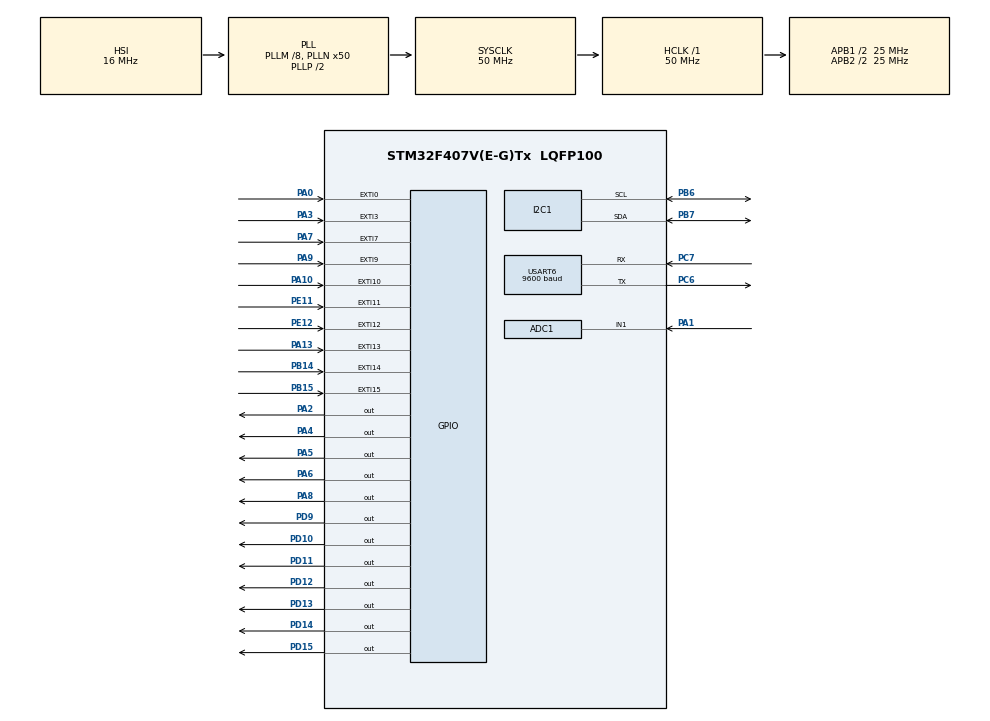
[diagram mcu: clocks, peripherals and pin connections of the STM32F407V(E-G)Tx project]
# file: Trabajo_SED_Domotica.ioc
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ADC1.Channel-0\#ChannelRegularConversion=ADC_CHANNEL_1
ADC1.ClockPrescaler=ADC_CLOCK_SYNC_PCLK_DIV8
ADC1.ContinuousConvMode=DISABLE
ADC1.EnableAnalogWatchDog=false
ADC1.NbrOfConversionFlag=1
ADC1.Rank-0\#ChannelRegularConversion=1
ADC1.SamplingTime-0\#ChannelRegularConversion=ADC_SAMPLETIME_3CYCLES
ADC1.master=1
I2C1.I2C_Mode=I2C_Standard
Mcu.Family=STM32F4
Mcu.Name=STM32F407V(E-G)Tx
Mcu.Package=LQFP100
NVIC.EXTI0_IRQn=true\:0\:0\:false\:false\:true\:true\:true
NVIC.EXTI15_10_IRQn=true\:0\:0\:false\:false\:true\:true\:true
NVIC.EXTI3_IRQn=true\:0\:0\:false\:false\:true\:true\:true
NVIC.EXTI9_5_IRQn=true\:0\:0\:false\:false\:true\:true\:true
NVIC.PriorityGroup=NVIC_PRIORITYGROUP_0
NVIC.USART6_IRQn=true\:0\:0\:false\:false\:true\:true\:true
PA0-WKUP.Signal=GPXTI0
PA1.Signal=ADCx_IN1
PA10.Signal=GPXTI10
PA13.Signal=GPXTI13
PA2.Signal=GPIO_Output
PA3.Signal=GPXTI3
PA4.Signal=GPIO_Output
PA5.Signal=GPIO_Output
PA6.Signal=GPIO_Output
PA7.Signal=GPXTI7
PA8.Signal=GPIO_Output
PA9.Signal=GPXTI9
PB14.Signal=GPXTI14
PB15.Signal=GPXTI15
PB6.Mode=I2C
PB6.Signal=I2C1_SCL
PB7.Mode=I2C
PB7.Signal=I2C1_SDA
PC6.Mode=Asynchronous
PC6.Signal=USART6_TX
PC7.Mode=Asynchronous
PC7.Signal=USART6_RX
PD10.Signal=GPIO_Output
PD11.Signal=GPIO_Output
PD12.Signal=GPIO_Output
PD13.Signal=GPIO_Output
PD14.Signal=GPIO_Output
PD15.Signal=GPIO_Output
PD9.Signal=GPIO_Output
PE11.Signal=GPXTI11
PE12.Signal=GPXTI12
PH0-OSC_IN.Mode=HSE-External-Oscillator
PH0-OSC_IN.Signal=RCC_OSC_IN
PH1-OSC_OUT.Mode=HSE-External-Oscillator
PH1-OSC_OUT.Signal=RCC_OSC_OUT
ProjectManager.HeapSize=0x200
ProjectManager.StackSize=0x400
ProjectManager.TargetToolchain=STM32CubeIDE
RCC.48MHZClocksFreq_Value=14285714.285714285
RCC.AHBFreq_Value=50000000
RCC.APB1CLKDivider=RCC_HCLK_DIV2
RCC.APB1Freq_Value=25000000
RCC.APB1TimFreq_Value=50000000
RCC.APB2CLKDivider=RCC_HCLK_DIV2
RCC.APB2Freq_Value=25000000
RCC.APB2TimFreq_Value=50000000
RCC.CortexFreq_Value=50000000
RCC.HCLKFreq_Value=50000000
RCC.HSE_VALUE=8000000
RCC.HSI_VALUE=16000000
RCC.LSE_VALUE=32768
RCC.PLLM=8
RCC.PLLN=50
RCC.PLLQ=7
RCC.SYSCLKFreq_VALUE=50000000
RCC.SYSCLKSource=RCC_SYSCLKSOURCE_PLLCLK
RCC.VCOOutputFreq_Value=100000000
SH.ADCx_IN1.0=ADC1_IN1,IN1
TIM1.Period=255-1
TIM1.Prescaler=768-1
TIM6.AutoReloadPreload=TIM_AUTORELOAD_PRELOAD_ENABLE
TIM6.Period=0xffff-1
TIM6.Prescaler=50-1
USART6.BaudRate=9600
USART6.VirtualMode=VM_ASYNC
VP_TIM1_VS_ClockSourceINT.Mode=Internal
VP_TIM6_VS_ClockSourceINT.Mode=Enable_Timer
board=STM32F407G-DISC1

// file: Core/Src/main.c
/* USER CODE BEGIN Header */
/**
 ******************************************************************************
 * @file           : main.c
 * @brief          : Main program body
 ******************************************************************************
 * @attention
 *
 * Copyright (c) 2021 STMicroelectronics.
 * All rights reserved.
 *
 * This software is licensed under terms that can be found in the LICENSE file
 * in the root directory of this software component.
 * If no LICENSE file comes with this software, it is provided AS-IS.
 *
 ******************************************************************************
 */
/* USER CODE END Header */
#include "main.h"

/* USER CODE BEGIN Includes */
#include "stdlib.h"
#include "string.h"
#include "TFT.h"
#include "control_BT.h"
#include "control_luces.h"
#include "control_persianas.h"
#include "control_riego.h"
#include "control_seguridad.h"
#include "control_clima.h"
/* USER CODE END Includes */

ADC_HandleTypeDef hadc1;

I2C_HandleTypeDef hi2c1;

TIM_HandleTypeDef htim1;
TIM_HandleTypeDef htim6;

UART_HandleTypeDef huart6;

void SystemClock_Config(void);
static void MX_GPIO_Init(void);
static void MX_I2C1_Init(void);
static void MX_USART6_UART_Init(void);
static void MX_ADC1_Init(void);
static void MX_TIM6_Init(void);
static void MX_TIM1_Init(void);

/* USER CODE BEGIN 0 */
char readBuf[1];
void HAL_UART_RxCpltCallback(UART_HandleTypeDef *UartHandle) {
 /* Se recibe el caracter y se pide el siguiente*/
 HAL_UART_Receive_IT(&huart6, (uint8_t*)readBuf, 1);
 bluetooth(readBuf);
}

//Interrupciones botones:
volatile int button_int = 0;
int boton_presionado = 0;
//Antirrebotes botones:
int debouncer(volatile int *button_int, GPIO_TypeDef *GPIO_port,
		uint16_t GPIO_number) {
	static uint8_t button_count = 0;
	static int counter = 0;

	if (*button_int == 1) {
		if (button_count == 0) {
			counter = HAL_GetTick();
			button_count++;
		}
		if (HAL_GetTick() - counter >= 20) {
			counter = HAL_GetTick();
			if (HAL_GPIO_ReadPin(GPIO_port, GPIO_number) != 1) {
				button_count = 1;
			} else {
				button_count++;
			}
			if (button_count == 4) { //Periodo antirebotes
				button_count = 0;
				*button_int = 0;
				return 1;
			}
		}
	}
	return 0;
}

void HAL_GPIO_EXTI_Callback(uint16_t GPIO_Pin) {
	if (GPIO_Pin == GPIO_PIN_3) {
		button_int = 1;
		boton_presionado = 3;
	} else if (GPIO_Pin == GPIO_PIN_12) {
		button_int = 1;
		boton_presionado = 12;
	} else if (GPIO_Pin == GPIO_PIN_13) {
		button_int = 1;
		boton_presionado = 13;
	} else if (GPIO_Pin == GPIO_PIN_10) {
		button_int = 1;
		boton_presionado = 10;
	} else if (GPIO_Pin == GPIO_PIN_7) {
		button_int = 1;
		boton_presionado = 7;
	} else if (GPIO_Pin == GPIO_PIN_9) {
		button_int = 1;
		boton_presionado = 9;
	} else if (GPIO_Pin == GPIO_PIN_14) {
		button_int = 1;
		boton_presionado = 14;
	} else if (GPIO_Pin == GPIO_PIN_15) {
		button_int = 1;
		boton_presionado = 15;
	}

}

/* USER CODE END 0 */

int main(void)
{

  /* MCU Configuration--------------------------------------------------------*/

  /* Reset of all peripherals, Initializes the Flash interface and the Systick. */
  HAL_Init();

  /* Configure the system clock */
  SystemClock_Config();

  /* Initialize all configured peripherals */
  MX_GPIO_Init();
  MX_I2C1_Init();
  MX_USART6_UART_Init();
  MX_ADC1_Init();
  MX_TIM6_Init();
  MX_TIM1_Init();
  /* USER CODE BEGIN 2 */
	HAL_TIM_Base_Start(&htim6);
	//int menu_actual = 0;
	//int retorno = 0;
	pantalla_principal();
	setEstadoPersianas(0);
	setLuces(0);
	setEstadoClima(0);
	setEstadoSeguridad(0);
	setEstadoRiego(2);
	lectura_dht11();

  /* USER CODE END 2 */

  /* Infinite loop */
  /* USER CODE BEGIN WHILE */
	  HAL_UART_Receive_IT(&huart6, (uint8_t*)readBuf, 1);
	while (1) {
    /* USER CODE END WHILE */

    /* USER CODE BEGIN 3 */
		switch (boton_presionado) {
		case 3:
			if (debouncer(&button_int, GPIOA, GPIO_PIN_3)) {
				cambiarEstadoLuces();
			}
			break;
		case 12:
			if (debouncer(&button_int, GPIOE, GPIO_PIN_12)) {
				setEstadoPersianas(0);
			}
			break;
		case 13:
			if (debouncer(&button_int, GPIOA, GPIO_PIN_13)) {
				cambiarEstadoPersianas();
			}
			break;
		case 10:
			if (debouncer(&button_int, GPIOA, GPIO_PIN_10)) {
				cambiarEstadoRiego();
			}
			break;
		case 7:
			if (debouncer(&button_int, GPIOA, GPIO_PIN_7)) {
				cambiarEstadoSeguridad();
			}
			break;
		case 9:
			if (debouncer(&button_int, GPIOA, GPIO_PIN_9)) {
				intruso_detectado();
			}
			break;
		case 14:
			if (debouncer(&button_int, GPIOB, GPIO_PIN_14)) {
				cambiarControlClima();
			}
			break;
		case 15:
			if (debouncer(&button_int, GPIOB, GPIO_PIN_15)) {
				cambiarEstadoClima();
			}
			break;
		}

		/*
		 if (button_int == 1) {
		 if (debouncer(&button_int, GPIOA, GPIO_PIN_3)) {
		 cambiarEstadoLuces();
		 }
		 } else if (button_int == 2) {
		 if (debouncer(&button_int, GPIOE, GPIO_PIN_11)) {
		 setEstadoPersianas(0);
		 }
		 } else if (debouncer(&button_int, GPIOE, GPIO_PIN_12)) {
		 setEstadoPersianas(0);
		 } else if (debouncer(&button_int, GPIOA, GPIO_PIN_13)) {
		 cambiarEstadoPersianas();
		 } else if (debouncer(&button_int, GPIOA, GPIO_PIN_10)) {
		 cambiarEstadoRiego();
		 } else if (debouncer(&button_int, GPIOA, GPIO_PIN_7)) {
		 cambiarEstadoSeguridad();
		 } else if (debouncer(&button_int, GPIOA, GPIO_PIN_9)) {
		 intruso_detectado();
		 } else if (debouncer(&button_int, GPIOB, GPIO_PIN_14)) {
		 cambiaEstadoClima();
		 } else if (debouncer(&button_int, GPIOB, GPIO_PIN_15)) {
		 cambiaControlClima();
		 }*/

		luces();
		riego();
		seguridad();
		clima();
	}
  /* USER CODE END 3 */
}

void SystemClock_Config(void)
{
  RCC_OscInitTypeDef RCC_OscInitStruct = {0};
  RCC_ClkInitTypeDef RCC_ClkInitStruct = {0};

  /** Configure the main internal regulator output voltage
  */
  __HAL_RCC_PWR_CLK_ENABLE();
  __HAL_PWR_VOLTAGESCALING_CONFIG(PWR_REGULATOR_VOLTAGE_SCALE1);
  /** Initializes the RCC Oscillators according to the specified parameters
  * in the RCC_OscInitTypeDef structure.
  */
  RCC_OscInitStruct.OscillatorType = RCC_OSCILLATORTYPE_HSI;
  RCC_OscInitStruct.HSIState = RCC_HSI_ON;
  RCC_OscInitStruct.HSICalibrationValue = RCC_HSICALIBRATION_DEFAULT;
  RCC_OscInitStruct.PLL.PLLState = RCC_PLL_ON;
  RCC_OscInitStruct.PLL.PLLSource = RCC_PLLSOURCE_HSI;
  RCC_OscInitStruct.PLL.PLLM = 8;
  RCC_OscInitStruct.PLL.PLLN = 50;
  RCC_OscInitStruct.PLL.PLLP = RCC_PLLP_DIV2;
  RCC_OscInitStruct.PLL.PLLQ = 7;
  if (HAL_RCC_OscConfig(&RCC_OscInitStruct) != HAL_OK)
  {
    Error_Handler();
  }
  /** Initializes the CPU, AHB and APB buses clocks
  */
  RCC_ClkInitStruct.ClockType = RCC_CLOCKTYPE_HCLK|RCC_CLOCKTYPE_SYSCLK
                              |RCC_CLOCKTYPE_PCLK1|RCC_CLOCKTYPE_PCLK2;
  RCC_ClkInitStruct.SYSCLKSource = RCC_SYSCLKSOURCE_PLLCLK;
  RCC_ClkInitStruct.AHBCLKDivider = RCC_SYSCLK_DIV1;
  RCC_ClkInitStruct.APB1CLKDivider = RCC_HCLK_DIV2;
  RCC_ClkInitStruct.APB2CLKDivider = RCC_HCLK_DIV2;

  if (HAL_RCC_ClockConfig(&RCC_ClkInitStruct, FLASH_LATENCY_1) != HAL_OK)
  {
    Error_Handler();
  }
}

static void MX_ADC1_Init(void)
{

  ADC_ChannelConfTypeDef sConfig = {0};

  /** Configure the global features of the ADC (Clock, Resolution, Data Alignment and number of conversion)
  */
  hadc1.Instance = ADC1;
  hadc1.Init.ClockPrescaler = ADC_CLOCK_SYNC_PCLK_DIV8;
  hadc1.Init.Resolution = ADC_RESOLUTION_12B;
  hadc1.Init.ScanConvMode = DISABLE;
  hadc1.Init.ContinuousConvMode = DISABLE;
  hadc1.Init.DiscontinuousConvMode = DISABLE;
  hadc1.Init.ExternalTrigConvEdge = ADC_EXTERNALTRIGCONVEDGE_NONE;
  hadc1.Init.ExternalTrigConv = ADC_SOFTWARE_START;
  hadc1.Init.DataAlign = ADC_DATAALIGN_RIGHT;
  hadc1.Init.NbrOfConversion = 1;
  hadc1.Init.DMAContinuousRequests = DISABLE;
  hadc1.Init.EOCSelection = ADC_EOC_SINGLE_CONV;
  if (HAL_ADC_Init(&hadc1) != HAL_OK)
  {
    Error_Handler();
  }
  /** Configure for the selected ADC regular channel its corresponding rank in the sequencer and its sample time.
  */
  sConfig.Channel = ADC_CHANNEL_1;
  sConfig.Rank = 1;
  sConfig.SamplingTime = ADC_SAMPLETIME_3CYCLES;
  if (HAL_ADC_ConfigChannel(&hadc1, &sConfig) != HAL_OK)
  {
    Error_Handler();
  }

}

static void MX_I2C1_Init(void)
{

  hi2c1.Instance = I2C1;
  hi2c1.Init.ClockSpeed = 100000;
  hi2c1.Init.DutyCycle = I2C_DUTYCYCLE_2;
  hi2c1.Init.OwnAddress1 = 0;
  hi2c1.Init.AddressingMode = I2C_ADDRESSINGMODE_7BIT;
  hi2c1.Init.DualAddressMode = I2C_DUALADDRESS_DISABLE;
  hi2c1.Init.OwnAddress2 = 0;
  hi2c1.Init.GeneralCallMode = I2C_GENERALCALL_DISABLE;
  hi2c1.Init.NoStretchMode = I2C_NOSTRETCH_DISABLE;
  if (HAL_I2C_Init(&hi2c1) != HAL_OK)
  {
    Error_Handler();
  }

}

static void MX_TIM1_Init(void)
{

  TIM_ClockConfigTypeDef sClockSourceConfig = {0};
  TIM_MasterConfigTypeDef sMasterConfig = {0};

  htim1.Instance = TIM1;
  htim1.Init.Prescaler = 768-1;
  htim1.Init.CounterMode = TIM_COUNTERMODE_UP;
  htim1.Init.Period = 255-1;
  htim1.Init.ClockDivision = TIM_CLOCKDIVISION_DIV1;
  htim1.Init.RepetitionCounter = 0;
  htim1.Init.AutoReloadPreload = TIM_AUTORELOAD_PRELOAD_DISABLE;
  if (HAL_TIM_Base_Init(&htim1) != HAL_OK)
  {
    Error_Handler();
  }
  sClockSourceConfig.ClockSource = TIM_CLOCKSOURCE_INTERNAL;
  if (HAL_TIM_ConfigClockSource(&htim1, &sClockSourceConfig) != HAL_OK)
  {
    Error_Handler();
  }
  sMasterConfig.MasterOutputTrigger = TIM_TRGO_RESET;
  sMasterConfig.MasterSlaveMode = TIM_MASTERSLAVEMODE_DISABLE;
  if (HAL_TIMEx_MasterConfigSynchronization(&htim1, &sMasterConfig) != HAL_OK)
  {
    Error_Handler();
  }

}

static void MX_TIM6_Init(void)
{

  TIM_MasterConfigTypeDef sMasterConfig = {0};

  htim6.Instance = TIM6;
  htim6.Init.Prescaler = 50-1;
  htim6.Init.CounterMode = TIM_COUNTERMODE_UP;
  htim6.Init.Period = 0xffff-1;
  htim6.Init.AutoReloadPreload = TIM_AUTORELOAD_PRELOAD_ENABLE;
  if (HAL_TIM_Base_Init(&htim6) != HAL_OK)
  {
    Error_Handler();
  }
  sMasterConfig.MasterOutputTrigger = TIM_TRGO_RESET;
  sMasterConfig.MasterSlaveMode = TIM_MASTERSLAVEMODE_DISABLE;
  if (HAL_TIMEx_MasterConfigSynchronization(&htim6, &sMasterConfig) != HAL_OK)
  {
    Error_Handler();
  }

}

static void MX_USART6_UART_Init(void)
{

  huart6.Instance = USART6;
  huart6.Init.BaudRate = 9600;
  huart6.Init.WordLength = UART_WORDLENGTH_8B;
  huart6.Init.StopBits = UART_STOPBITS_1;
  huart6.Init.Parity = UART_PARITY_NONE;
  huart6.Init.Mode = UART_MODE_TX_RX;
  huart6.Init.HwFlowCtl = UART_HWCONTROL_NONE;
  huart6.Init.OverSampling = UART_OVERSAMPLING_16;
  if (HAL_UART_Init(&huart6) != HAL_OK)
  {
    Error_Handler();
  }

}

static void MX_GPIO_Init(void)
{
  GPIO_InitTypeDef GPIO_InitStruct = {0};

  /* GPIO Ports Clock Enable */
  __HAL_RCC_GPIOH_CLK_ENABLE();
  __HAL_RCC_GPIOA_CLK_ENABLE();
  __HAL_RCC_GPIOE_CLK_ENABLE();
  __HAL_RCC_GPIOB_CLK_ENABLE();
  __HAL_RCC_GPIOD_CLK_ENABLE();
  __HAL_RCC_GPIOC_CLK_ENABLE();

  /*Configure GPIO pin Output Level */
  HAL_GPIO_WritePin(GPIOA, GPIO_PIN_2|GPIO_PIN_4|GPIO_PIN_5|GPIO_PIN_6
                          |GPIO_PIN_8, GPIO_PIN_RESET);

  /*Configure GPIO pin Output Level */
  HAL_GPIO_WritePin(GPIOD, GPIO_PIN_9|GPIO_PIN_10|GPIO_PIN_11|GPIO_PIN_12
                          |GPIO_PIN_13|GPIO_PIN_14|GPIO_PIN_15, GPIO_PIN_RESET);

  /*Configure GPIO pins : PA0 PA3 PA7 PA9
                           PA10 PA13 */
  GPIO_InitStruct.Pin = GPIO_PIN_0|GPIO_PIN_3|GPIO_PIN_7|GPIO_PIN_9
                          |GPIO_PIN_10|GPIO_PIN_13;
  GPIO_InitStruct.Mode = GPIO_MODE_IT_RISING;
  GPIO_InitStruct.Pull = GPIO_NOPULL;
  HAL_GPIO_Init(GPIOA, &GPIO_InitStruct);

  /*Configure GPIO pins : PA2 PA4 PA5 PA6
                           PA8 */
  GPIO_InitStruct.Pin = GPIO_PIN_2|GPIO_PIN_4|GPIO_PIN_5|GPIO_PIN_6
                          |GPIO_PIN_8;
  GPIO_InitStruct.Mode = GPIO_MODE_OUTPUT_PP;
  GPIO_InitStruct.Pull = GPIO_NOPULL;
  GPIO_InitStruct.Speed = GPIO_SPEED_FREQ_LOW;
  HAL_GPIO_Init(GPIOA, &GPIO_InitStruct);

  /*Configure GPIO pins : PE11 PE12 */
  GPIO_InitStruct.Pin = GPIO_PIN_11|GPIO_PIN_12;
  GPIO_InitStruct.Mode = GPIO_MODE_IT_RISING;
  GPIO_InitStruct.Pull = GPIO_NOPULL;
  HAL_GPIO_Init(GPIOE, &GPIO_InitStruct);

  /*Configure GPIO pins : PB14 PB15 */
  GPIO_InitStruct.Pin = GPIO_PIN_14|GPIO_PIN_15;
  GPIO_InitStruct.Mode = GPIO_MODE_IT_RISING;
  GPIO_InitStruct.Pull = GPIO_NOPULL;
  HAL_GPIO_Init(GPIOB, &GPIO_InitStruct);

  /*Configure GPIO pins : PD9 PD10 PD11 PD12
                           PD13 PD14 PD15 */
  GPIO_InitStruct.Pin = GPIO_PIN_9|GPIO_PIN_10|GPIO_PIN_11|GPIO_PIN_12
                          |GPIO_PIN_13|GPIO_PIN_14|GPIO_PIN_15;
  GPIO_InitStruct.Mode = GPIO_MODE_OUTPUT_PP;
  GPIO_InitStruct.Pull = GPIO_NOPULL;
  GPIO_InitStruct.Speed = GPIO_SPEED_FREQ_LOW;
  HAL_GPIO_Init(GPIOD, &GPIO_InitStruct);

  /* EXTI interrupt init*/
  HAL_NVIC_SetPriority(EXTI0_IRQn, 0, 0);
  HAL_NVIC_EnableIRQ(EXTI0_IRQn);

  HAL_NVIC_SetPriority(EXTI3_IRQn, 0, 0);
  HAL_NVIC_EnableIRQ(EXTI3_IRQn);

  HAL_NVIC_SetPriority(EXTI9_5_IRQn, 0, 0);
  HAL_NVIC_EnableIRQ(EXTI9_5_IRQn);

  HAL_NVIC_SetPriority(EXTI15_10_IRQn, 0, 0);
  HAL_NVIC_EnableIRQ(EXTI15_10_IRQn);

}

void Error_Handler(void)
{
	__disable_irq();
	while (1) {
	}
}
